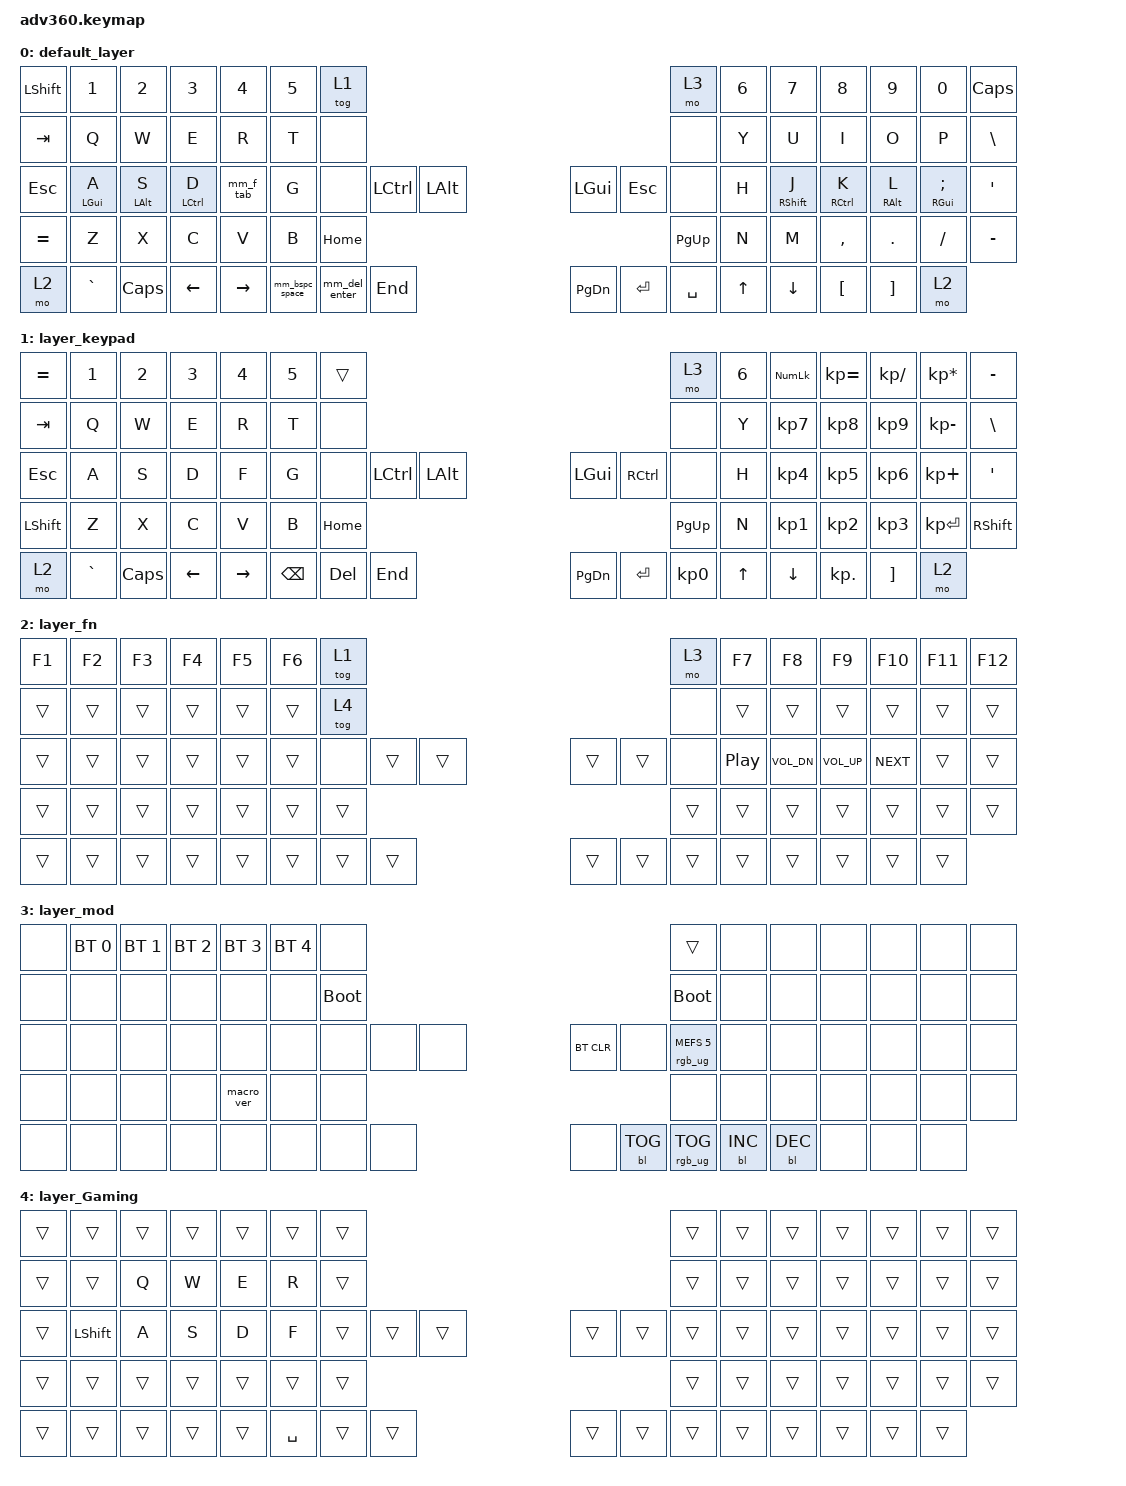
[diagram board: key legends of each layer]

/*
 * Copyright (c) 2020 The ZMK Contributors
 *
 * SPDX-License-Identifier: MIT
 */


/* THIS FILE WAS GENERATED!
 *
 * This file was generated automatically. You may or may not want to
 * edit it directly.
 */

#include <behaviors.dtsi>
#include <dt-bindings/zmk/keys.h>
#include <dt-bindings/zmk/bt.h>
#include <dt-bindings/zmk/rgb.h>
#include <dt-bindings/zmk/backlight.h>

/ {
  behaviors {
    #include "macros.dtsi"
    #include "version.dtsi"

    hm: homerow_mods {
        compatible = "zmk,behavior-hold-tap";
        label = "HOMEROW_MODS";
        #binding-cells = <2>;
        tapping-term-ms = <200>;
        quick_tap_ms = <175>;
        flavor = "balanced";
        bindings = <&kp>, <&kp>;
    };

    mm_f_tab: mod_morph_alt_f {
        compatible = "zmk,behavior-mod-morph";
        #binding-cells = <0>;
        bindings = <&hm LSHIFT F>, <&kp TAB>;
        mods = <MOD_LALT>;
        keep-mods = <MOD_LALT>;
    };

    mm_bspc_space: mod_morph_alt_backspace {
        compatible = "zmk,behavior-mod-morph";
        #binding-cells = <0>;
        bindings = <&kp BSPC>, <&kp SPACE>;
        mods = <MOD_LALT>;
    };

    mm_del_enter: mod_morph_alt_delete {
        compatible = "zmk,behavior-mod-morph";
        #binding-cells = <0>;
        bindings = <&kp DEL>, <&kp ENTER>;
        mods = <MOD_LALT>;
    };

  };

    keymap {
        compatible = "zmk,keymap";


        default_layer {
            bindings = <
 &kp LSHIFT      &kp N1      &kp N2       &kp N3        &kp N4  &kp N5              &tog 1                                                                 &mo 3  &kp N6        &kp N7       &kp N8      &kp N9         &kp N0  &kp CAPSLOCK
   &kp TAB       &kp Q       &kp W        &kp E         &kp R   &kp T               &none                                                                 &none   &kp Y         &kp U        &kp I       &kp O          &kp P   &kp BSLH
   &kp ESC  &hm LGUI A  &hm LALT S  &hm LCTRL D  &mm_f_tab  &kp G               &none  &kp LCTRL  &kp LALT                   &kp LGUI  &kp ESC      &none   &kp H  &hm RSHIFT J  &hm RCTRL K  &hm RALT L  &hm RGUI SEMI    &kp SQT
 &kp EQUAL       &kp Z       &kp X        &kp C         &kp V   &kp B                                 &kp HOME                  &kp PG_UP                         &kp N         &kp M    &kp COMMA     &kp DOT       &kp FSLH  &kp MINUS
     &mo 2   &kp GRAVE    &kp CAPS     &kp LEFT     &kp RIGHT                    &mm_bspc_space    &mm_del_enter   &kp END                  &kp PG_DN  &kp ENTER  &kp SPACE                &kp UP     &kp DOWN    &kp LBKT       &kp RBKT      &mo 2
            >;
        };

        layer_keypad {
            bindings = <
 &kp EQUAL     &kp N1    &kp N2    &kp N3     &kp N4  &kp N5              &trans                                                                 &mo 3  &kp N6  &kp KP_NUM  &kp KP_EQUAL  &kp KP_DIVIDE  &kp KP_MULTIPLY  &kp MINUS
   &kp TAB      &kp Q     &kp W     &kp E      &kp R   &kp T               &none                                                                 &none   &kp Y   &kp KP_N7     &kp KP_N8      &kp KP_N9     &kp KP_MINUS   &kp BSLH
   &kp ESC      &kp A     &kp S     &kp D      &kp F   &kp G               &none  &kp LCTRL  &kp LALT                   &kp LGUI  &kp RCTRL      &none   &kp H   &kp KP_N4     &kp KP_N5      &kp KP_N6      &kp KP_PLUS    &kp SQT
 &kp LSHFT      &kp Z     &kp X     &kp C      &kp V   &kp B                                 &kp HOME                  &kp PG_UP                         &kp N   &kp KP_N1     &kp KP_N2      &kp KP_N3     &kp KP_ENTER  &kp RSHFT
     &mo 2  &kp GRAVE  &kp CAPS  &kp LEFT  &kp RIGHT                    &kp BSPC    &kp DEL   &kp END                  &kp PG_DN  &kp ENTER  &kp KP_N0              &kp UP      &kp DOWN     &kp KP_DOT         &kp RBKT      &mo 2
            >;
        };

        layer_fn {
            bindings = <
 &kp F1  &kp F2  &kp F3  &kp F4  &kp F5  &kp F6            &tog 1                                                   &mo 3  &kp F7  &kp F8  &kp F9  &kp F10  &kp F11  &kp F12
 &trans  &trans  &trans  &trans  &trans  &trans            &tog 4                                                   &none  &trans  &trans  &trans   &trans   &trans   &trans
 &trans  &trans  &trans  &trans  &trans  &trans             &none  &trans  &trans                  &trans  &trans   &none  &kp C_PLAY_PAUSE &kp C_VOL_DN  &kp C_VOL_UP   &kp C_NEXT   &trans   &trans
 &trans  &trans  &trans  &trans  &trans  &trans                            &trans                  &trans                  &trans  &trans  &trans   &trans   &trans   &trans
 &trans  &trans  &trans  &trans  &trans                    &trans  &trans  &trans                  &trans  &trans  &trans          &trans  &trans   &trans   &trans   &trans
            >;
        };

        layer_mod {
            bindings = <
  &none  &bt BT_SEL 0  &bt BT_SEL 1  &bt BT_SEL 2  &bt BT_SEL 3  &bt BT_SEL 4                  &none                                                                          &trans   &none       &none       &none   &none   &none   &none
  &none         &none         &none         &none         &none         &none            &bootloader                                                                     &bootloader   &none       &none       &none   &none   &none   &none
  &none         &none         &none         &none         &none         &none                  &none   &none   &none                  &bt BT_CLR       &none  &rgb_ug RGB_MEFS_CMD 5   &none       &none       &none   &none   &none   &none
  &none         &none         &none         &none    &macro_ver         &none                                  &none                       &none                                       &none       &none       &none   &none   &none   &none
  &none         &none         &none         &none         &none                                &none   &none   &none                       &none  &bl BL_TOG         &rgb_ug RGB_TOG          &bl BL_INC  &bl BL_DEC   &none   &none   &none
            >;
        };

        layer_Gaming {
            bindings = <
 &trans          &trans  &trans  &trans  &trans  &trans               &trans                                                  &trans  &trans  &trans  &trans  &trans  &trans  &trans
 &trans          &trans   &kp Q   &kp W   &kp E   &kp R               &trans                                                  &trans  &trans  &trans  &trans  &trans  &trans  &trans
 &trans  &kp LEFT_SHIFT   &kp A   &kp S   &kp D  &kp F               &trans  &trans  &trans                  &trans  &trans  &trans  &trans  &trans  &trans  &trans  &trans  &trans
 &trans          &trans  &trans  &trans  &trans  &trans                               &trans                  &trans                  &trans  &trans  &trans  &trans  &trans  &trans
 &trans          &trans  &trans  &trans  &trans                    &kp SPACE  &trans  &trans                  &trans  &trans  &trans          &trans  &trans  &trans  &trans  &trans
            >;
        };

    };
};
